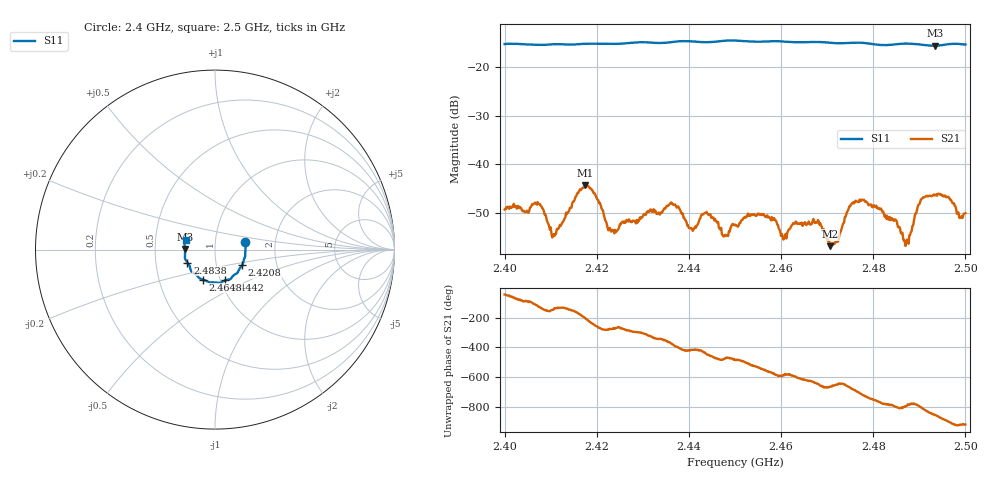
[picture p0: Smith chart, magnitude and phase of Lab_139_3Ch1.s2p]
# Hz S RI R 50
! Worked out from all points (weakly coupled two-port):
!   601 points, 2.4 GHz to 2.5 GHz, reference 50 ohm
!   highest |S21| = -44.33 dB at 2.4175 GHz (marker M1); lowest = -56.9 dB at 2.4707 GHz (marker M2)
!   lowest |S11| = -15.6 dB at 2.4935 GHz (marker M3), VSWR 1.40, Z = 35.8 + j0.212 ohm
!   |S11| at or under -10 dB: start of sweep to end of sweep
!   S12 and S22 are empty: the file has one direction only
!   S11 on the Smith chart (normalised r, x): 2.4 GHz: 1.40, +0.12; 2.4208 GHz: 1.33, -0.24; 2.4442 GHz: 1.05, -0.37; 2.4648 GHz: 0.83, -0.29; 2.4838 GHz: 0.73, -0.11; 2.5 GHz: 0.72, +0.08
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2.4e9  0.1675 0.0412  0.00238 -0.00244  0 0  0 0
2.407167e9  0.1694 -0.0109  -0.00215 -0.00345  0 0  0 0
2.410667e9  0.1689 -0.0315  -0.00157 -0.00109  0 0  0 0
2.416667e9  0.159 -0.0681  -0.00547 0.000533  0 0  0 0
2.4175e9  0.1572 -0.0736  -0.00554 0.0025  0 0  0 0
2.420833e9  0.1506 -0.0871  0.000208 0.00381  0 0  0 0
2.423667e9  0.1408 -0.1005  -2.51e-05 0.00208  0 0  0 0
2.433333e9  0.108 -0.1404  0.00299 0.000909  0 0  0 0
2.4365e9  0.0926 -0.1558  0.00363 -0.00143  0 0  0 0
2.440667e9  0.0789 -0.1662  0.00117 -0.00182  0 0  0 0
2.444167e9  0.0568 -0.1713  5.09e-05 -0.00303  0 0  0 0
2.45e9  0.0246 -0.186  -0.00127 -0.00203  0 0  0 0
2.464833e9  -0.0683 -0.1667  -0.000694 0.00231  0 0  0 0
2.466667e9  -0.0799 -0.1627  -0.000119 0.00242  0 0  0 0
2.470667e9  -0.0952 -0.1504  0.000798 0.00119  0 0  0 0
2.475833e9  -0.1268 -0.1251  0.00323 0.00227  0 0  0 0
2.483333e9  -0.1505 -0.0761  0.00139 -0.00248  0 0  0 0
2.483833e9  -0.1533 -0.0721  0.00114 -0.0024  0 0  0 0
2.487167e9  -0.1667 -0.0517  0.000414 -0.00155  0 0  0 0
2.490333e9  -0.1672 -0.033  0.000699 -0.00426  0 0  0 0
2.4935e9  -0.1659 0.00288  -0.0034 -0.00344  0 0  0 0
2.5e9  -0.1624 0.0529  -0.00299 0.000928  0 0  0 0
